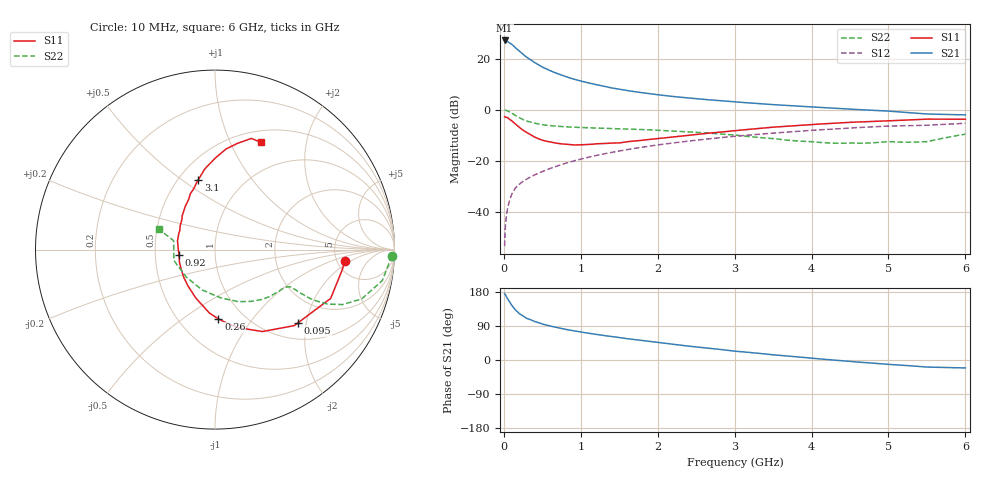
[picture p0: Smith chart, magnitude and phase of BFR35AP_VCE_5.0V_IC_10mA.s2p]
! Infineon Technologies  Discrete & RF Semiconductors
! BFR35AP
! VCE =  5.0 V,  IC =  10 mA
! Common Emitter S-Parameters:  Nov 2015
# GHz  S  MA  R  50
!  f  S11  S21  S12  S22
! GHz  MAG  ANG  MAG  ANG  MAG  ANG  MAG  ANG
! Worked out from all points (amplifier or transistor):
!   210 points, 10 MHz to 6 GHz, reference 50 ohm
!   highest |S21| = 27.2 dB at 10 MHz (marker M1)
!   |S21| within 3 dB of that: start of sweep to 156.9 MHz
!   unconditionally stable (mu >= 1): 593.5 MHz to 3.081 GHz
!   at 185 MHz: K = 0.54, MSG = 26.5 dB, |S12| = -29.7 dB
!   at 1.52 GHz: K = 1.10, MAG = 10.1 dB, |S12| = -16.1 dB
!   at 6 GHz: K = 0.93, MSG = 1.6 dB, |S12| = -5.3 dB
!   S11 on the Smith chart (normalised r, x): 10 MHz: 5.93, -1.57; 95 MHz: 1.36, -1.79; 260 MHz: 0.77, -0.69; 920 MHz: 0.66, -0.04; 3.1 GHz: 0.62, +0.58; 6 GHz: 0.63, +1.31
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0.01  0.7281 -4.9  22.78 175.8  0.0021 88.9  0.985 -2.0
0.02  0.7167 -9.5  22.33 171.8  0.0052 83.5  0.973 -4.4
0.05  0.6994 -22.9  21.68 161.0  0.0118 79.6  0.9481 -10.5
0.095  0.6166 -41.5  19.49 146.7  0.0205 71.4  0.8698 -17.7
0.1  0.6119 -43.8  19.33 144.9  0.0215 70.9  0.862 -18.6
0.15  0.5277 -59.9  16.47 132.0  0.0289 66.0  0.772 -23.4
0.2  0.4525 -73.8  14.17 122.6  0.0345 64.2  0.6977 -25.8
0.24  0.405 -82.9  12.55 116.9  0.0383 62.6  0.6495 -26.6
0.26  0.3861 -87.2  11.85 114.2  0.0401 62.3  0.6291 -26.9
0.3  0.3551 -95.0  10.6 109.7  0.0437 62.5  0.5957 -27.2
0.4  0.29 -111.7  8.384 101.6  0.0525 62.9  0.5415 -27.0
0.5  0.252 -126.8  6.858 94.8  0.0608 63.8  0.5064 -26.6
0.6  0.233 -138.4  5.835 89.6  0.07 64.6  0.4856 -26.3
0.7  0.2182 -149.5  5.071 85.1  0.079 65.4  0.4721 -26.3
0.92  0.2032 -171.2  3.925 76.6  0.1 65.2  0.4514 -27.4
1.02  0.2046 -179.9  3.582 73.3  0.1093 65.0  0.4456 -28.2
1.4  0.2217 155.4  2.674 61.9  0.145 63.3  0.4268 -32.7
2.02  0.2728 130.3  1.948 45.9  0.2053 58.3  0.3931 -42.9
3.1  0.3998 103.5  1.387 21.7  0.3094 46.5  0.3064 -68.9
4.1  0.5212 88.4  1.109 3.0  0.4012 34.3  0.2284 -113.4
5.1  0.6128 76.9  0.913 -12.8  0.4796 20.4  0.2323 -170.3
6  0.6498 66.8  0.79 -21.0  0.5409 10.1  0.3309 160.2
